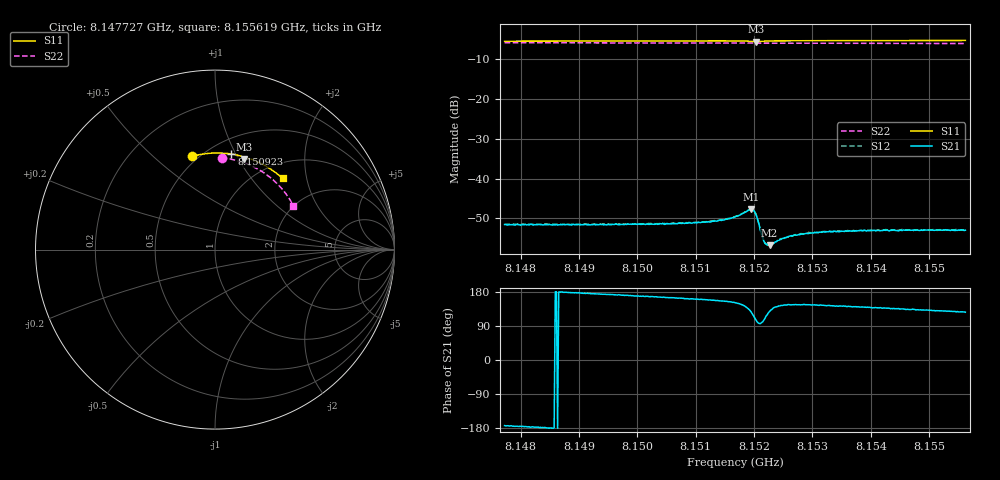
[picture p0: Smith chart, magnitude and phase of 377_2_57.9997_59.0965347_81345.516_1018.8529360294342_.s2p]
#  HZ  S  RI  R  50.00
! Rohde & Schwarz Vector Network Analyzer
! Rohde-Schwarz,ZNB20-2Port,1311601062101988,3.16
! Created: UTC 3/21/2024, 1:07:10 AM
! freq[Hz]  re:S11  im:S11  re:S21  im:S21  re:S12  im:S12  re:S22  im:S22
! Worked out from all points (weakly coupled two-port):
!   401 points, 8.147727 GHz to 8.155619 GHz, reference 50 ohm
!   highest |S21| = -47.77 dB at 8.151949 GHz (marker M1); lowest = -56.8 dB at 8.152265 GHz (marker M2)
!   lowest |S11| = -5.5 dB at 8.152028 GHz (marker M3), VSWR 3.25, Z = 37.6 + j52.6 ohm
!   |S11| at or under -10 dB: nowhere
!   |S22| runs from -6.0 to -5.8 dB; largest |S21 - S12| = 0.00012
!   S11 on the Smith chart (normalised r, x): 8.147727 GHz: 0.46, +0.67; 8.150923 GHz: 0.64, +0.96; 8.155619 GHz: 1.29, +1.45
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8.1477274e9  -0.1297 0.5189  -0.00262 -0.000319  -0.00265 -0.00022  0.0367 0.5112
8.1490492e9  -0.0392 0.5359  -0.00262 0.000157  -0.00265 0.000208  0.1211 0.4963
8.150371e9  0.0527 0.5369  -0.0026 0.000641  -0.00262 0.000699  0.2015 0.4677
8.1509234e9  0.0912 0.5324  -0.0026 0.000868  -0.00261 0.000938  0.2331 0.4518
8.1513377e9  0.1201 0.5272  -0.00269 0.00114  -0.0027 0.00117  0.256 0.4384
8.1516731e9  0.1443 0.5208  -0.00287 0.00157  -0.00289 0.00164  0.2739 0.4267
8.1518901e9  0.1599 0.5121  -0.00287 0.0027  -0.00287 0.00275  0.2852 0.4187
8.1519493e9  0.1624 0.5079  -0.00245 0.00327  -0.0024 0.00334  0.2882 0.4164
8.1519888e9  0.1623 0.5054  -0.00182 0.00354  -0.00179 0.00358  0.29 0.415
8.1520282e9  0.1611 0.5043  -0.00101 0.00342  -0.000986 0.0035  0.292 0.4134
8.1520677e9  0.1604 0.5056  -0.000413 0.0029  -0.00041 0.00289  0.2937 0.4121
8.1521466e9  0.1642 0.5095  -0.000336 0.00177  -0.000327 0.00177  0.2977 0.4093
8.1521663e9  0.1659 0.51  -0.000423 0.00158  -0.000408 0.00161  0.2989 0.4086
8.1522058e9  0.1689 0.5106  -0.000651 0.00134  -0.00063 0.00136  0.3009 0.407
8.152265e9  0.1741 0.5107  -0.000897 0.00114  -0.000859 0.00112  0.304 0.4049
8.1524425e9  0.1878 0.5079  -0.00135 0.00103  -0.00136 0.00107  0.3128 0.3977
8.1526595e9  0.2031 0.5031  -0.00157 0.00106  -0.00155 0.00107  0.3233 0.3887
8.1529949e9  0.2253 0.4944  -0.0017 0.00117  -0.0017 0.00119  0.3389 0.3745
8.1532514e9  0.2417 0.4871  -0.00173 0.00127  -0.00174 0.0013  0.3505 0.3632
8.1538432e9  0.2783 0.4682  -0.00169 0.00142  -0.00167 0.00146  0.3757 0.3357
8.1543167e9  0.3062 0.4513  -0.00159 0.0015  -0.00163 0.00156  0.3941 0.3123
8.1556188e9  0.3772 0.3963  -0.00132 0.0018  -0.00134 0.00183  0.4372 0.2435
